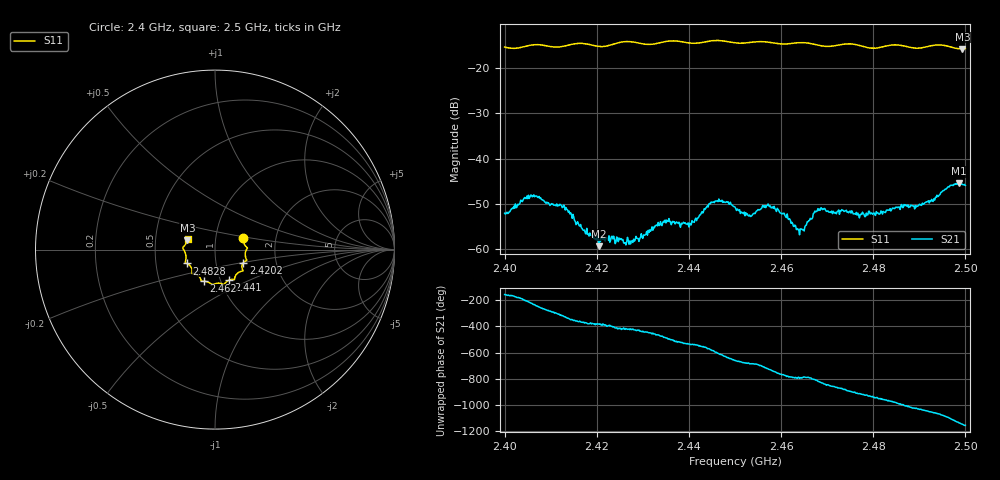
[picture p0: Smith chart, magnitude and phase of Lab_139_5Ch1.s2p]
# Hz S RI R 50
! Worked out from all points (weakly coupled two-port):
!   601 points, 2.4 GHz to 2.5 GHz, reference 50 ohm
!   highest |S21| = -45.44 dB at 2.4987 GHz (marker M1); lowest = -59.3 dB at 2.4205 GHz (marker M2)
!   lowest |S11| = -15.8 dB at 2.4993 GHz (marker M3), VSWR 1.39, Z = 36.5 + j3.89 ohm
!   |S11| at or under -10 dB: start of sweep to end of sweep
!   S12 and S22 are empty: the file has one direction only
!   S11 on the Smith chart (normalised r, x): 2.4 GHz: 1.36, +0.17; 2.4202 GHz: 1.36, -0.20; 2.441 GHz: 1.10, -0.39; 2.462 GHz: 0.83, -0.30; 2.4828 GHz: 0.72, -0.11; 2.5 GHz: 0.73, +0.09
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2.4e9  0.1583 0.0621  -0.00231 -0.00096  0 0  0 0
2.406667e9  0.1802 0.00982  -0.00199 0.00334  0 0  0 0
2.4125e9  0.1687 -0.0345  0.00213 0.00195  0 0  0 0
2.416667e9  0.1769 -0.0604  0.00171 -0.000242  0 0  0 0
2.420167e9  0.1578 -0.0719  0.00131 -0.000511  0 0  0 0
2.4205e9  0.1559 -0.0743  0.000991 -0.000443  0 0  0 0
2.4275e9  0.154 -0.1191  0.000525 -0.00112  0 0  0 0
2.433333e9  0.1117 -0.1511  -0.000553 -0.0019  0 0  0 0
2.441e9  0.0781 -0.1702  -0.002 2.68e-05  0 0  0 0
2.445333e9  0.0515 -0.1936  -0.00231 0.00241  0 0  0 0
2.45e9  0.0278 -0.1875  0.00145 0.00255  0 0  0 0
2.453333e9  -0.00314 -0.1916  0.00192 0.00128  0 0  0 0
2.457333e9  -0.0217 -0.1911  0.003 -0.000435  0 0  0 0
2.462e9  -0.0609 -0.1757  0.000823 -0.00194  0 0  0 0
2.4645e9  -0.075 -0.175  0.000432 -0.00162  0 0  0 0
2.466667e9  -0.0787 -0.1678  0.000321 -0.00214  0 0  0 0
2.468833e9  -0.0871 -0.1521  -0.00107 -0.00261  0 0  0 0
2.482833e9  -0.1571 -0.0769  -0.00125 0.00239  0 0  0 0
2.483333e9  -0.1602 -0.0754  -0.00111 0.00248  0 0  0 0
2.498667e9  -0.1571 0.0428  0.00283 -0.00454  0 0  0 0
2.499333e9  -0.154 0.0519  0.00199 -0.00485  0 0  0 0
2.5e9  -0.1525 0.0614  0.00115 -0.00495  0 0  0 0
